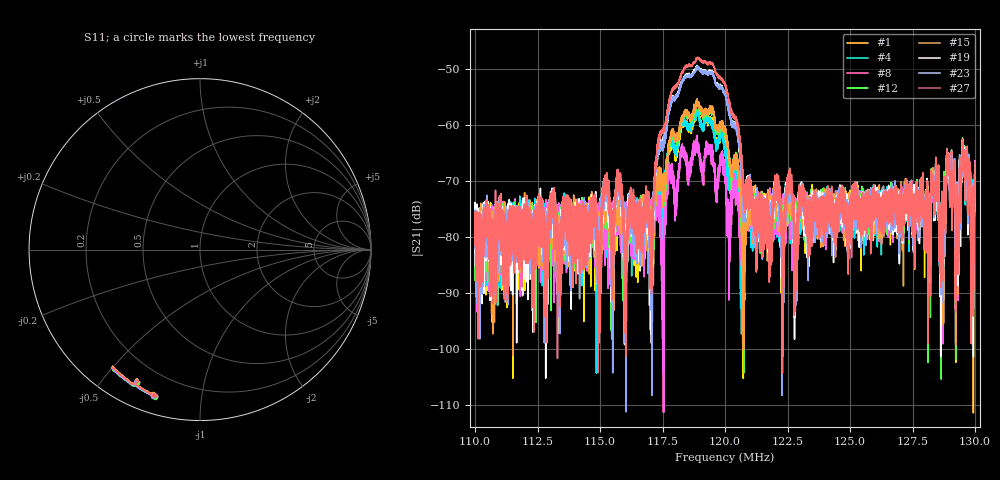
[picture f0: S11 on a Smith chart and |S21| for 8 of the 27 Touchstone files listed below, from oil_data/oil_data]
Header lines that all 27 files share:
!Agilent Technologies,E5071C,MY46520923,B.12.03
!Data & Calibration Information:
!Freq	S11:SOLT2(ON)	S21:SOLT2(ON)	S12:SOLT2(ON)	S22:SOLT2(ON)
!PortZ  Port1:50+j0  Port2:50+j0
!Above PortZ is port z conversion or system Z0 setting when saving the data.
!When reading, reference impedance value at option line is always used.
# Hz S dB R 50
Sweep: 110 MHz to 130 MHz
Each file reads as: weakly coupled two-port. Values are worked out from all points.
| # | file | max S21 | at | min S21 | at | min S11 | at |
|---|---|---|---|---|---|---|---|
| 1 | SAW_06_02_2024_OIL_5W30_01.S2P | -57.27 dB | 118.9 MHz | -111.4 dB | 129.9 MHz | -1.4 dB | 118.7 MHz |
| 2 | SAW_06_02_2024_OIL_5W30_02.S2P | -56.55 dB | 118.9 MHz | -101.8 dB | 129.3 MHz | -1.4 dB | 118.8 MHz |
| 3 | SAW_06_02_2024_OIL_5W30_03.S2P | -56.78 dB | 118.9 MHz | -111.4 dB | 129.8 MHz | -1.4 dB | 118.8 MHz |
| 4 | SAW_06_02_2024_OIL_5W40_01.S2P | -57.34 dB | 118.9 MHz | -104.3 dB | 114.9 MHz | -1.4 dB | 118.7 MHz |
| 5 | SAW_06_02_2024_OIL_5W40_02.S2P | -57.19 dB | 118.9 MHz | -105.2 dB | 120.7 MHz | -1.4 dB | 118.7 MHz |
| 6 | SAW_06_02_2024_OIL_5W40_03.S2P | -57.35 dB | 118.9 MHz | -101.2 dB | 115.4 MHz | -1.4 dB | 118.8 MHz |
| 7 | SAW_06_02_2024_OIL_10W40_01.S2P | -62.34 dB | 118.9 MHz | -111.3 dB | 128.6 MHz | -1.4 dB | 118.8 MHz |
| 8 | SAW_06_02_2024_OIL_10W40_02.S2P | -61.89 dB | 118.9 MHz | -111.2 dB | 117.6 MHz | -1.4 dB | 118.8 MHz |
| 9 | SAW_06_02_2024_OIL_10W40_03.S2P | -61.37 dB | 118.9 MHz | -100.1 dB | 117.5 MHz | -1.4 dB | 118.8 MHz |
| 10 | SAW_06_02_2024_OIL_CANOLA_01.S2P | -55.99 dB | 118.9 MHz | -105.2 dB | 120.8 MHz | -1.4 dB | 118.7 MHz |
| 11 | SAW_06_02_2024_OIL_CANOLA_02.S2P | -55.62 dB | 118.9 MHz | -104.3 dB | 120.7 MHz | -1.4 dB | 118.8 MHz |
| 12 | SAW_06_02_2024_OIL_CANOLA_03.S2P | -55.93 dB | 118.9 MHz | -105.3 dB | 128.6 MHz | -1.4 dB | 118.8 MHz |
| 13 | SAW_06_02_2024_OIL_GIRASSOL_01.S2P | -55.35 dB | 118.9 MHz | -104.2 dB | 120.7 MHz | -1.5 dB | 118.8 MHz |
| 14 | SAW_06_02_2024_OIL_GIRASSOL_02.S2P | -55.47 dB | 118.9 MHz | -111.2 dB | 112.8 MHz | -1.5 dB | 118.7 MHz |
| 15 | SAW_06_02_2024_OIL_GIRASSOL_03.S2P | -55.37 dB | 118.9 MHz | -101.2 dB | 111.5 MHz | -1.5 dB | 118.8 MHz |
| 16 | SAW_06_02_2024_OIL_MILHO_01.S2P | -54.98 dB | 118.9 MHz | -104.4 dB | 129.8 MHz | -1.5 dB | 118.7 MHz |
| 17 | SAW_06_02_2024_OIL_MILHO_02.S2P | -55.11 dB | 118.9 MHz | -105.2 dB | 120.7 MHz | -1.5 dB | 118.8 MHz |
| 18 | SAW_06_02_2024_OIL_MILHO_03.S2P | -55.21 dB | 118.9 MHz | -108.4 dB | 129.3 MHz | -1.5 dB | 118.8 MHz |
| 19 | SAW_06_02_2024_OIL_TRAFO_38_01.S2P | -49.44 dB | 118.9 MHz | -105.2 dB | 112.8 MHz | -1.4 dB | 118.8 MHz |
| 20 | SAW_06_02_2024_OIL_TRAFO_38_02.S2P | -49.67 dB | 118.9 MHz | -111.2 dB | 115 MHz | -1.5 dB | 118.8 MHz |
| 21 | SAW_06_02_2024_OIL_TRAFO_38_03.S2P | -49.70 dB | 118.9 MHz | -111.2 dB | 115.5 MHz | -1.5 dB | 118.8 MHz |
| 22 | SAW_06_02_2024_OIL_TRAFO_44_01.S2P | -49.61 dB | 118.9 MHz | -111.2 dB | 110.7 MHz | -1.4 dB | 118.8 MHz |
| 23 | SAW_06_02_2024_OIL_TRAFO_44_02.S2P | -49.57 dB | 118.9 MHz | -111.2 dB | 116 MHz | -1.4 dB | 118.7 MHz |
| 24 | SAW_06_02_2024_OIL_TRAFO_44_03.S2P | -49.58 dB | 118.9 MHz | -111.2 dB | 115.5 MHz | -1.4 dB | 118.8 MHz |
| 25 | SAW_06_02_2024_OIL_TRAFO_46_01.S2P | -48.08 dB | 118.9 MHz | -111.2 dB | 110.2 MHz | -1.5 dB | 118.7 MHz |
| 26 | SAW_06_02_2024_OIL_TRAFO_46_02.S2P | -47.96 dB | 118.9 MHz | -111.4 dB | 129.9 MHz | -1.5 dB | 118.7 MHz |
| 27 | SAW_06_02_2024_OIL_TRAFO_46_03.S2P | -47.97 dB | 118.9 MHz | -104.3 dB | 122.3 MHz | -1.5 dB | 118.8 MHz |
